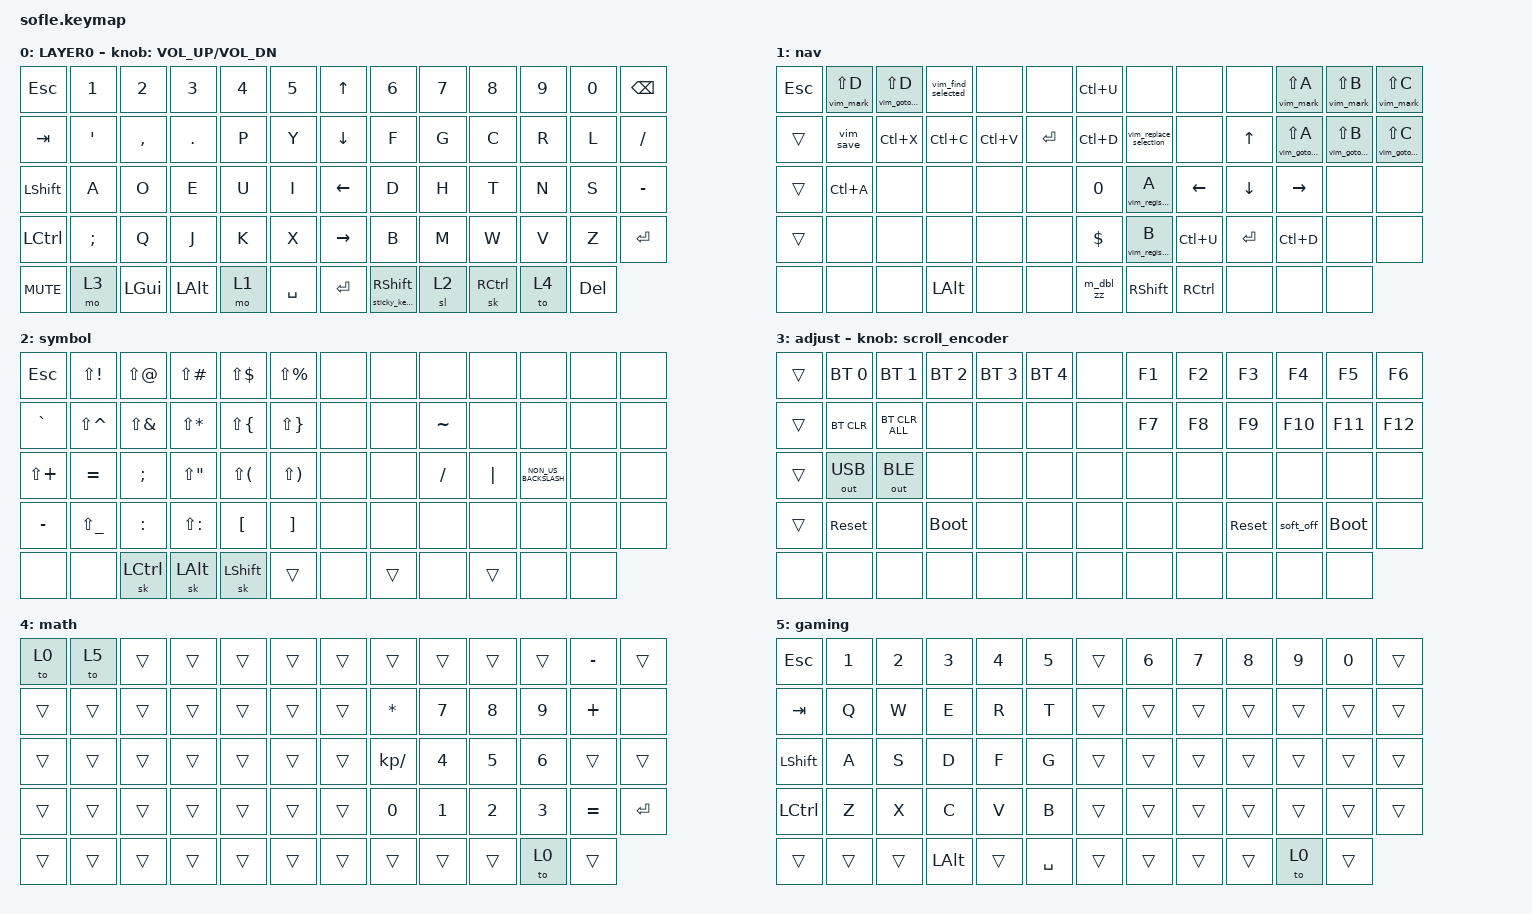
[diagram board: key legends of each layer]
#include <behaviors/mouse_keys.dtsi>
#include <dt-bindings/zmk/mouse.h>
#include <behaviors.dtsi>
#include <dt-bindings/zmk/bt.h>
#include <dt-bindings/zmk/keys.h>
#include <dt-bindings/zmk/outputs.h>

#define ZMK_MOUSE_DEFAULT_MOVE_VAL 1200  // 600
#define ZMK_MOUSE_DEFAULT_SCRL_VAL 20    // 10
#define U_MS_U &mmv MOVE_UP
#define U_MS_D &mmv MOVE_DOWN
#define U_MS_L &mmv MOVE_LEFT
#define U_MS_R &mmv MOVE_RIGHT
#define ZMK_MOUSE_DEFAULT_MOVE_VAL 1200  //  600
#define ZMK_MOUSE_DEFAULT_SCRL_VAL 20    // 10

/ {
    behaviors {
        mmv {
            acceleration-exponent = <1>;      // 1
            time-to-max-speed-ms = <900>;    // 40
            delay-ms = <0>;                   // 0
        };

        msc {
            acceleration-exponent = <1>;      // 0
            time-to-max-speed-ms = <400>;      // 500
            delay-ms = <0>;                   //   10
        };
    };

    scroll_encoder: scroll_encoder {
        compatible = "zmk,behavior-sensor-rotate";
        #sensor-binding-cells = <0>;
        bindings = <&msc SCRL_DOWN>, <&msc SCRL_UP>;

        tap-ms = <30>;
    };

    sticky_key_quick_release: sticky_key_quick_release {
        compatible = "zmk,behavior-sticky-key";
        label = "STICKY_KEY_QUICK_RELEASE";
        bindings = <&kp>;
        #binding-cells = <1>;
        quick-release;
        release-after-ms = <1000>;
    };

    macros {
        m_dbl_zz: m_dbl_zz {
            compatible = "zmk,behavior-macro";
            #binding-cells = <0>;
            bindings = <&kp Z &kp Z>;
            label = "M_DBL_ZZ";
        };

        vim_replace_selection: vim_replace_selection {
            compatible = "zmk,behavior-macro";
            #binding-cells = <0>;
            bindings = <&kp DQT &kp M &kp Y &kp FSLH &kp LC(R) &kp M &kp ENTER &kp LS(N) &kp G &kp N &kp C>;
            label = "VIM_REPLACE_SELECTION";
        };

        vim_register: vim_register {
            compatible = "zmk,behavior-macro-one-param";
            #binding-cells = <1>;
            bindings = <&kp DOUBLE_QUOTES &macro_param_1to1 &kp MACRO_PLACEHOLDER>;
            label = "VIM_REGISTER";
        };

        vim_mark: vim_mark {
            compatible = "zmk,behavior-macro-one-param";
            #binding-cells = <1>;
            bindings = <&kp M &macro_param_1to1 &kp MACRO_PLACEHOLDER>;
            label = "VIM_MARK";
        };

        vim_gotomark: vim_gotomark {
            compatible = "zmk,behavior-macro-one-param";
            #binding-cells = <1>;
            bindings = <&kp GRAVE &macro_param_1to1 &kp MACRO_PLACEHOLDER &kp Z &kp Z>;
            label = "VIM_GOTOMARK";
        };

        vim_save: vim_save {
            compatible = "zmk,behavior-macro";
            #binding-cells = <0>;
            bindings = <&kp COLON &kp W &kp A &kp RET>;
            label = "VIM_SAVE";
        };

        vim_find_selected: vim_find_selected {
            compatible = "zmk,behavior-macro";
            #binding-cells = <0>;
            bindings = <&kp DQT &kp D &kp Y &kp FSLH &kp LC(R) &kp D>;
            label = "VIM_FIND_SELECTED";
        };
    };

    keymap {
        compatible = "zmk,keymap";

        layer0 {
            bindings = <
&kp ESCAPE  &kp N1    &kp N2        &kp N3        &kp N4  &kp N5       &kp UP_ARROW     &kp N6                            &kp N7  &kp N8     &kp N9  &kp N0      &kp BACKSPACE
&kp TAB     &kp SQT   &kp COMMA     &kp DOT       &kp P   &kp Y        &kp DOWN_ARROW   &kp F                             &kp G   &kp C      &kp R   &kp L       &kp FSLH
&kp LSHFT   &kp A     &kp O         &kp E         &kp U   &kp I        &kp LEFT_ARROW   &kp D                             &kp H   &kp T      &kp N   &kp S       &kp MINUS
&kp LCTRL   &kp SEMI  &kp Q         &kp J         &kp K   &kp X        &kp RIGHT_ARROW  &kp B                             &kp M   &kp W      &kp V   &kp Z       &kp ENTER
&kp C_MUTE  &mo 3     &kp LEFT_GUI  &kp LEFT_ALT  &mo 1   &kp SPACE    &kp ENTER        &sticky_key_quick_release RSHIFT  &sl 2   &sk RCTRL  &to 4   &kp DELETE
            >;

            sensor-bindings = <&inc_dec_kp C_VOLUME_UP C_VOL_DN>;
            display-name = "LAYER0";
        };

        nav {
            bindings = <
&kp ESCAPE  &vim_mark LS(D)  &vim_gotomark LS(D)  &vim_find_selected  &none      &none        &kp LC(U)   &none                   &none      &none         &vim_mark LS(A)      &vim_mark LS(B)      &vim_mark LS(C)
&trans      &vim_save        &kp LC(X)            &kp LC(C)           &kp LC(V)  &kp ENTER    &kp LC(D)   &vim_replace_selection  &none      &kp UP_ARROW  &vim_gotomark LS(A)  &vim_gotomark LS(B)  &vim_gotomark LS(C)
&trans      &kp LC(A)        &none                &none               &none      &none        &kp N0      &vim_register A         &kp LEFT   &kp DOWN      &kp RIGHT            &none                &none
&trans      &none            &none                &none               &none      &none        &kp DOLLAR  &vim_register B         &kp LC(U)  &kp ENTER     &kp LC(D)            &none                &none
&none       &none            &none                &kp LALT            &none      &none        &m_dbl_zz   &kp RIGHT_SHIFT         &kp RCTRL  &none         &none                &none
            >;
        };

        symbol {
            bindings = <
&kp ESCAPE    &kp LS(EXCL)   &kp LS(AT)    &kp LS(POUND)  &kp LS(DLLR)    &kp LS(PRCNT)    &none  &none   &none      &none     &none                 &none  &none
&kp GRAVE     &kp LS(CARET)  &kp LS(AMPS)  &kp LS(STAR)   &kp LS(LBRC)    &kp LS(RBRC)     &none  &none   &kp TILDE  &none     &none                 &none  &none
&kp LS(PLUS)  &kp EQUAL      &kp SEMI      &kp LS(DQT)    &kp LS(LPAR)    &kp LS(RPAR)     &none  &none   &kp SLASH  &kp PIPE  &kp NON_US_BACKSLASH  &none  &none
&kp MINUS     &kp LS(UNDER)  &kp COLON     &kp LS(COLON)  &kp LBKT        &kp RBKT         &none  &none   &none      &none     &none                 &none  &none
&none         &none          &sk LCTRL     &sk LEFT_ALT   &sk LEFT_SHIFT  &trans           &none  &trans  &none      &trans    &none                 &none
            >;
        };

        adjust {
            bindings = <
&trans  &bt BT_SEL 0  &bt BT_SEL 1    &bt BT_SEL 2  &bt BT_SEL 3  &bt BT_SEL 4    &none  &kp F1  &kp F2  &kp F3      &kp F4     &kp F5       &kp F6
&trans  &bt BT_CLR    &bt BT_CLR_ALL  &none         &none         &none           &none  &kp F7  &kp F8  &kp F9      &kp F10    &kp F11      &kp F12
&trans  &out OUT_USB  &out OUT_BLE    &none         &none         &none           &none  &none   &none   &none       &none      &none        &none
&trans  &sys_reset    &none           &bootloader   &none         &none           &none  &none   &none   &sys_reset  &soft_off  &bootloader  &none
&none   &none         &none           &none         &none         &none           &none  &none   &none   &none       &none      &none
            >;

            sensor-bindings = <&scroll_encoder>;
        };

        math {
            bindings = <
&to 0   &to 5   &trans  &trans  &trans  &trans    &trans  &trans         &trans        &trans        &trans        &kp MINUS  &trans
&trans  &trans  &trans  &trans  &trans  &trans    &trans  &kp ASTERISK   &kp N7        &kp N8        &kp N9        &kp PLUS   &none
&trans  &trans  &trans  &trans  &trans  &trans    &trans  &kp KP_DIVIDE  &kp N4        &kp N5        &kp N6        &trans     &trans
&trans  &trans  &trans  &trans  &trans  &trans    &trans  &kp N0         &kp NUMBER_1  &kp NUMBER_2  &kp NUMBER_3  &kp EQUAL  &kp RET
&trans  &trans  &trans  &trans  &trans  &trans    &trans  &trans         &trans        &trans        &to 0         &trans
            >;
        };

        gaming {
            bindings = <
&kp ESCAPE  &kp N1  &kp N2  &kp N3    &kp N4  &kp N5       &trans  &kp N6  &kp N7  &kp N8  &kp N9  &kp N0  &trans
&kp TAB     &kp Q   &kp W   &kp E     &kp R   &kp T        &trans  &trans  &trans  &trans  &trans  &trans  &trans
&kp LSHFT   &kp A   &kp S   &kp D     &kp F   &kp G        &trans  &trans  &trans  &trans  &trans  &trans  &trans
&kp LCTRL   &kp Z   &kp X   &kp C     &kp V   &kp B        &trans  &trans  &trans  &trans  &trans  &trans  &trans
&trans      &trans  &trans  &kp LALT  &trans  &kp SPACE    &trans  &trans  &trans  &trans  &to 0   &trans
            >;
        };
    };
};
